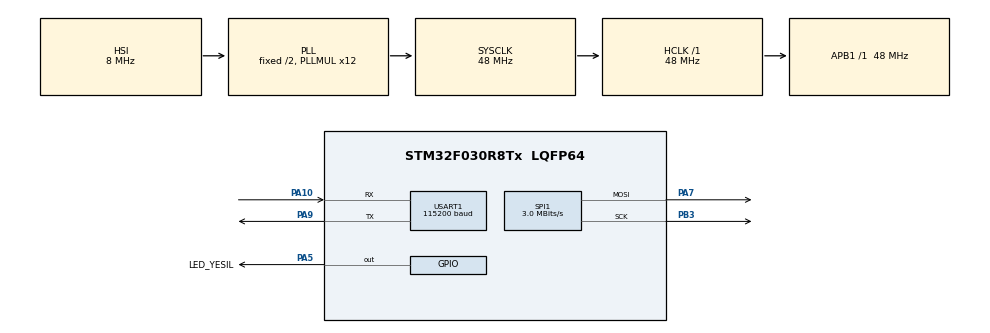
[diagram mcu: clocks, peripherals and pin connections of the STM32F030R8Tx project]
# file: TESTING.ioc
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Dma.Request0=SPI1_TX
Dma.Request1=USART1_RX
Dma.SPI1_TX.0.Direction=DMA_MEMORY_TO_PERIPH
Dma.SPI1_TX.0.Instance=DMA1_Channel3
Dma.SPI1_TX.0.MemDataAlignment=DMA_MDATAALIGN_BYTE
Dma.SPI1_TX.0.MemInc=DMA_MINC_ENABLE
Dma.SPI1_TX.0.Mode=DMA_NORMAL
Dma.SPI1_TX.0.PeriphDataAlignment=DMA_PDATAALIGN_BYTE
Dma.SPI1_TX.0.PeriphInc=DMA_PINC_DISABLE
Dma.SPI1_TX.0.Priority=DMA_PRIORITY_LOW
Dma.USART1_RX.1.Direction=DMA_PERIPH_TO_MEMORY
Dma.USART1_RX.1.Instance=DMA1_Channel5
Dma.USART1_RX.1.MemDataAlignment=DMA_MDATAALIGN_BYTE
Dma.USART1_RX.1.MemInc=DMA_MINC_ENABLE
Dma.USART1_RX.1.Mode=DMA_NORMAL
Dma.USART1_RX.1.PeriphDataAlignment=DMA_PDATAALIGN_BYTE
Dma.USART1_RX.1.PeriphInc=DMA_PINC_DISABLE
Dma.USART1_RX.1.Priority=DMA_PRIORITY_LOW
Mcu.Family=STM32F0
Mcu.Name=STM32F030R8Tx
Mcu.Package=LQFP64
NVIC.DMA1_Channel2_3_IRQn=true\:0\:0\:false\:false\:true\:false\:true\:true
NVIC.DMA1_Channel4_5_IRQn=true\:0\:0\:false\:false\:true\:false\:true\:true
NVIC.SPI1_IRQn=true\:0\:0\:false\:false\:true\:true\:true\:true
NVIC.USART1_IRQn=true\:1\:0\:true\:false\:true\:true\:true\:true
PA10.GPIO_PuPd=GPIO_PULLUP
PA10.Mode=Asynchronous
PA10.Signal=USART1_RX
PA13.Mode=Serial_Wire
PA13.Signal=SYS_SWDIO
PA14.Mode=Serial_Wire
PA14.Signal=SYS_SWCLK
PA5.GPIO_Label=LED_YESIL
PA5.Signal=GPIO_Output
PA7.GPIO_Mode=GPIO_MODE_AF_PP
PA7.GPIO_PuPd=GPIO_NOPULL
PA7.Mode=TX_Only_Simplex_Unidirect_Master
PA7.Signal=SPI1_MOSI
PA9.Mode=Asynchronous
PA9.Signal=USART1_TX
PB3.Mode=TX_Only_Simplex_Unidirect_Master
PB3.Signal=SPI1_SCK
PC14-OSC32_IN.Mode=LSE-External-Oscillator
PC14-OSC32_IN.Signal=RCC_OSC32_IN
PC15-OSC32_OUT.Mode=LSE-External-Oscillator
PC15-OSC32_OUT.Signal=RCC_OSC32_OUT
ProjectManager.HeapSize=0x200
ProjectManager.StackSize=0x400
ProjectManager.TargetToolchain=MDK-ARM V5.32
RCC.AHBFreq_Value=48000000
RCC.APB1Freq_Value=48000000
RCC.APB1TimFreq_Value=48000000
RCC.HCLKFreq_Value=48000000
RCC.PLLMUL=RCC_PLL_MUL12
RCC.SYSCLKFreq_VALUE=48000000
RCC.SYSCLKSource=RCC_SYSCLKSOURCE_PLLCLK
SPI1.BaudRatePrescaler=SPI_BAUDRATEPRESCALER_16
SPI1.CalculateBaudRate=3.0 MBits/s
SPI1.DataSize=SPI_DATASIZE_8BIT
SPI1.Direction=SPI_DIRECTION_2LINES
SPI1.Mode=SPI_MODE_MASTER
SPI1.NSSPMode=SPI_NSS_PULSE_DISABLE
SPI1.VirtualType=VM_MASTER
USART1.BaudRate=115200
USART1.Mode=MODE_RX
USART1.VirtualMode-Asynchronous=VM_ASYNC
board=custom

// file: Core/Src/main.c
/* USER CODE BEGIN Header */
/**
  ******************************************************************************
  * @file           : main.c
  * @brief          : Main program body
  ******************************************************************************
  * @attention
  *
  * Copyright (c) 2022 STMicroelectronics.
  * All rights reserved.
  *
  * This software is licensed under terms that can be found in the LICENSE file
  * in the root directory of this software component.
  * If no LICENSE file comes with this software, it is provided AS-IS.
  *
  ******************************************************************************
  */
/* USER CODE END Header */
#include "main.h"
#include "dma.h"
#include "spi.h"
#include "usart.h"
#include "gpio.h"

/* USER CODE BEGIN Includes */
#include "stm32f0xx_hal.h"
#include "math.h"
#include "string.h"
#include "stdio.h"
#include "stdlib.h"
#define LED_NO    105 // farkli modlari eklemek icin led_no fazla sayildi
/* USER CODE END Includes */

void SystemClock_Config(void);

/* USER CODE BEGIN 0 */
uint8_t r;
uint16_t i, n, m, k, j;

float gamma = 0.14; // tepe noktayi belirler (daha az veya fazla koyuluk)
float beta = 0.5; // gaussiani simetrik yapar
float br, bg, bb;

#define LED_BUFFER_LENGTH (LED_NO*12) //bunun sebebi her bir led icin 4*3 bytelik yer tutulacak olmasidir.

const uint8_t leddata[256*4] = { // size = 256 * 4 ------------ '0' = 0100 // '1' = 0111
0X44 , 0X44 , 0X44 , 0X44 , // 0 degeri
0X44 , 0X44 , 0X44 , 0X47 , // 1 degeri
0X44 , 0X44 , 0X44 , 0X74 , // .
0X44 , 0X44 , 0X44 , 0X77 , // ..
0X44 , 0X44 , 0X47 , 0X44 , // ...
0X44 , 0X44 , 0X47 , 0X47 , //0x44 = 0b01000100
0X44 , 0X44 , 0X47 , 0X74 , //0x47 = 0b01000111
0X44 , 0X44 , 0X47 , 0X77 , //0x74 = 0b01110100
0X44 , 0X44 , 0X74 , 0X44 , //0x77 = 0b01110111
0X44 , 0X44 , 0X74 , 0X47 ,
0X44 , 0X44 , 0X74 , 0X74 , // örnegin bu satirda 0100 0100 , 0100 0100 , 0111 0100 , 0111 0100 olacak sekilde bir çikti verecektir buradan 00001010 elde edilir ve 10 degerine ulasilir
0X44 , 0X44 , 0X74 , 0X77 ,
0X44 , 0X44 , 0X77 , 0X44 ,
0X44 , 0X44 , 0X77 , 0X47 ,
0X44 , 0X44 , 0X77 , 0X74 ,
0X44 , 0X44 , 0X77 , 0X77 ,
0X44 , 0X47 , 0X44 , 0X44 ,
0X44 , 0X47 , 0X44 , 0X47 ,
0X44 , 0X47 , 0X44 , 0X74 ,
0X44 , 0X47 , 0X44 , 0X77 ,
0X44 , 0X47 , 0X47 , 0X44 ,
0X44 , 0X47 , 0X47 , 0X47 ,
0X44 , 0X47 , 0X47 , 0X74 ,
0X44 , 0X47 , 0X47 , 0X77 ,
0X44 , 0X47 , 0X74 , 0X44 ,
0X44 , 0X47 , 0X74 , 0X47 ,
0X44 , 0X47 , 0X74 , 0X74 ,
0X44 , 0X47 , 0X74 , 0X77 ,
0X44 , 0X47 , 0X77 , 0X44 ,
0X44 , 0X47 , 0X77 , 0X47 ,
0X44 , 0X47 , 0X77 , 0X74 ,
0X44 , 0X47 , 0X77 , 0X77 ,
0X44 , 0X74 , 0X44 , 0X44 ,
0X44 , 0X74 , 0X44 , 0X47 ,
0X44 , 0X74 , 0X44 , 0X74 ,
0X44 , 0X74 , 0X44 , 0X77 ,
0X44 , 0X74 , 0X47 , 0X44 ,
0X44 , 0X74 , 0X47 , 0X47 ,
0X44 , 0X74 , 0X47 , 0X74 ,
0X44 , 0X74 , 0X47 , 0X77 ,
0X44 , 0X74 , 0X74 , 0X44 ,
0X44 , 0X74 , 0X74 , 0X47 ,
0X44 , 0X74 , 0X74 , 0X74 ,
0X44 , 0X74 , 0X74 , 0X77 ,
0X44 , 0X74 , 0X77 , 0X44 ,
0X44 , 0X74 , 0X77 , 0X47 ,
0X44 , 0X74 , 0X77 , 0X74 ,
0X44 , 0X74 , 0X77 , 0X77 ,
0X44 , 0X77 , 0X44 , 0X44 ,
0X44 , 0X77 , 0X44 , 0X47 ,
0X44 , 0X77 , 0X44 , 0X74 ,
0X44 , 0X77 , 0X44 , 0X77 ,
0X44 , 0X77 , 0X47 , 0X44 ,
0X44 , 0X77 , 0X47 , 0X47 ,
0X44 , 0X77 , 0X47 , 0X74 ,
0X44 , 0X77 , 0X47 , 0X77 ,
0X44 , 0X77 , 0X74 , 0X44 ,
0X44 , 0X77 , 0X74 , 0X47 ,
0X44 , 0X77 , 0X74 , 0X74 ,
0X44 , 0X77 , 0X74 , 0X77 ,
0X44 , 0X77 , 0X77 , 0X44 ,
0X44 , 0X77 , 0X77 , 0X47 ,
0X44 , 0X77 , 0X77 , 0X74 ,
0X44 , 0X77 , 0X77 , 0X77 ,
0X47 , 0X44 , 0X44 , 0X44 ,
0X47 , 0X44 , 0X44 , 0X47 ,
0X47 , 0X44 , 0X44 , 0X74 ,
0X47 , 0X44 , 0X44 , 0X77 ,
0X47 , 0X44 , 0X47 , 0X44 ,
0X47 , 0X44 , 0X47 , 0X47 ,
0X47 , 0X44 , 0X47 , 0X74 ,
0X47 , 0X44 , 0X47 , 0X77 ,
0X47 , 0X44 , 0X74 , 0X44 ,
0X47 , 0X44 , 0X74 , 0X47 ,
0X47 , 0X44 , 0X74 , 0X74 ,
0X47 , 0X44 , 0X74 , 0X77 ,
0X47 , 0X44 , 0X77 , 0X44 ,
0X47 , 0X44 , 0X77 , 0X47 ,
0X47 , 0X44 , 0X77 , 0X74 ,
0X47 , 0X44 , 0X77 , 0X77 ,
0X47 , 0X47 , 0X44 , 0X44 ,
0X47 , 0X47 , 0X44 , 0X47 ,
0X47 , 0X47 , 0X44 , 0X74 ,
0X47 , 0X47 , 0X44 , 0X77 ,
0X47 , 0X47 , 0X47 , 0X44 ,
0X47 , 0X47 , 0X47 , 0X47 ,
0X47 , 0X47 , 0X47 , 0X74 ,
0X47 , 0X47 , 0X47 , 0X77 ,
0X47 , 0X47 , 0X74 , 0X44 ,
0X47 , 0X47 , 0X74 , 0X47 ,
0X47 , 0X47 , 0X74 , 0X74 ,
0X47 , 0X47 , 0X74 , 0X77 ,
0X47 , 0X47 , 0X77 , 0X44 ,
0X47 , 0X47 , 0X77 , 0X47 ,
0X47 , 0X47 , 0X77 , 0X74 ,
0X47 , 0X47 , 0X77 , 0X77 ,
0X47 , 0X74 , 0X44 , 0X44 ,
0X47 , 0X74 , 0X44 , 0X47 ,
0X47 , 0X74 , 0X44 , 0X74 ,
0X47 , 0X74 , 0X44 , 0X77 ,
0X47 , 0X74 , 0X47 , 0X44 ,
0X47 , 0X74 , 0X47 , 0X47 ,
0X47 , 0X74 , 0X47 , 0X74 ,
0X47 , 0X74 , 0X47 , 0X77 ,
0X47 , 0X74 , 0X74 , 0X44 ,
0X47 , 0X74 , 0X74 , 0X47 ,
0X47 , 0X74 , 0X74 , 0X74 ,
0X47 , 0X74 , 0X74 , 0X77 ,
0X47 , 0X74 , 0X77 , 0X44 ,
0X47 , 0X74 , 0X77 , 0X47 ,
0X47 , 0X74 , 0X77 , 0X74 ,
0X47 , 0X74 , 0X77 , 0X77 ,
0X47 , 0X77 , 0X44 , 0X44 ,
0X47 , 0X77 , 0X44 , 0X47 ,
0X47 , 0X77 , 0X44 , 0X74 ,
0X47 , 0X77 , 0X44 , 0X77 ,
0X47 , 0X77 , 0X47 , 0X44 ,
0X47 , 0X77 , 0X47 , 0X47 ,
0X47 , 0X77 , 0X47 , 0X74 ,
0X47 , 0X77 , 0X47 , 0X77 ,
0X47 , 0X77 , 0X74 , 0X44 ,
0X47 , 0X77 , 0X74 , 0X47 ,
0X47 , 0X77 , 0X74 , 0X74 ,
0X47 , 0X77 , 0X74 , 0X77 ,
0X47 , 0X77 , 0X77 , 0X44 ,
0X47 , 0X77 , 0X77 , 0X47 ,
0X47 , 0X77 , 0X77 , 0X74 ,
0X47 , 0X77 , 0X77 , 0X77 ,
0X74 , 0X44 , 0X44 , 0X44 ,
0X74 , 0X44 , 0X44 , 0X47 ,
0X74 , 0X44 , 0X44 , 0X74 ,
0X74 , 0X44 , 0X44 , 0X77 ,
0X74 , 0X44 , 0X47 , 0X44 ,
0X74 , 0X44 , 0X47 , 0X47 ,
0X74 , 0X44 , 0X47 , 0X74 ,
0X74 , 0X44 , 0X47 , 0X77 ,
0X74 , 0X44 , 0X74 , 0X44 ,
0X74 , 0X44 , 0X74 , 0X47 ,
0X74 , 0X44 , 0X74 , 0X74 ,
0X74 , 0X44 , 0X74 , 0X77 ,
0X74 , 0X44 , 0X77 , 0X44 ,
0X74 , 0X44 , 0X77 , 0X47 ,
0X74 , 0X44 , 0X77 , 0X74 ,
0X74 , 0X44 , 0X77 , 0X77 ,
0X74 , 0X47 , 0X44 , 0X44 ,
0X74 , 0X47 , 0X44 , 0X47 ,
0X74 , 0X47 , 0X44 , 0X74 ,
0X74 , 0X47 , 0X44 , 0X77 ,
0X74 , 0X47 , 0X47 , 0X44 ,
0X74 , 0X47 , 0X47 , 0X47 ,
0X74 , 0X47 , 0X47 , 0X74 ,
0X74 , 0X47 , 0X47 , 0X77 ,
0X74 , 0X47 , 0X74 , 0X44 ,
0X74 , 0X47 , 0X74 , 0X47 ,
0X74 , 0X47 , 0X74 , 0X74 ,
0X74 , 0X47 , 0X74 , 0X77 ,
0X74 , 0X47 , 0X77 , 0X44 ,
0X74 , 0X47 , 0X77 , 0X47 ,
0X74 , 0X47 , 0X77 , 0X74 ,
0X74 , 0X47 , 0X77 , 0X77 ,
0X74 , 0X74 , 0X44 , 0X44 ,
0X74 , 0X74 , 0X44 , 0X47 ,
0X74 , 0X74 , 0X44 , 0X74 ,
0X74 , 0X74 , 0X44 , 0X77 ,
0X74 , 0X74 , 0X47 , 0X44 ,
0X74 , 0X74 , 0X47 , 0X47 ,
0X74 , 0X74 , 0X47 , 0X74 ,
0X74 , 0X74 , 0X47 , 0X77 ,
0X74 , 0X74 , 0X74 , 0X44 ,
0X74 , 0X74 , 0X74 , 0X47 ,
0X74 , 0X74 , 0X74 , 0X74 ,
0X74 , 0X74 , 0X74 , 0X77 ,
0X74 , 0X74 , 0X77 , 0X44 ,
0X74 , 0X74 , 0X77 , 0X47 ,
0X74 , 0X74 , 0X77 , 0X74 ,
0X74 , 0X74 , 0X77 , 0X77 ,
0X74 , 0X77 , 0X44 , 0X44 ,
0X74 , 0X77 , 0X44 , 0X47 ,
0X74 , 0X77 , 0X44 , 0X74 ,
0X74 , 0X77 , 0X44 , 0X77 ,
0X74 , 0X77 , 0X47 , 0X44 ,
0X74 , 0X77 , 0X47 , 0X47 ,
0X74 , 0X77 , 0X47 , 0X74 ,
0X74 , 0X77 , 0X47 , 0X77 ,
0X74 , 0X77 , 0X74 , 0X44 ,
0X74 , 0X77 , 0X74 , 0X47 ,
0X74 , 0X77 , 0X74 , 0X74 ,
0X74 , 0X77 , 0X74 , 0X77 ,
0X74 , 0X77 , 0X77 , 0X44 ,
0X74 , 0X77 , 0X77 , 0X47 ,
0X74 , 0X77 , 0X77 , 0X74 ,
0X74 , 0X77 , 0X77 , 0X77 ,
0X77 , 0X44 , 0X44 , 0X44 ,
0X77 , 0X44 , 0X44 , 0X47 ,
0X77 , 0X44 , 0X44 , 0X74 ,
0X77 , 0X44 , 0X44 , 0X77 ,
0X77 , 0X44 , 0X47 , 0X44 ,
0X77 , 0X44 , 0X47 , 0X47 ,
0X77 , 0X44 , 0X47 , 0X74 ,
0X77 , 0X44 , 0X47 , 0X77 ,
0X77 , 0X44 , 0X74 , 0X44 ,
0X77 , 0X44 , 0X74 , 0X47 ,
0X77 , 0X44 , 0X74 , 0X74 ,
0X77 , 0X44 , 0X74 , 0X77 ,
0X77 , 0X44 , 0X77 , 0X44 ,
0X77 , 0X44 , 0X77 , 0X47 ,
0X77 , 0X44 , 0X77 , 0X74 ,
0X77 , 0X44 , 0X77 , 0X77 ,
0X77 , 0X47 , 0X44 , 0X44 ,
0X77 , 0X47 , 0X44 , 0X47 ,
0X77 , 0X47 , 0X44 , 0X74 ,
0X77 , 0X47 , 0X44 , 0X77 ,
0X77 , 0X47 , 0X47 , 0X44 ,
0X77 , 0X47 , 0X47 , 0X47 ,
0X77 , 0X47 , 0X47 , 0X74 ,
0X77 , 0X47 , 0X47 , 0X77 ,
0X77 , 0X47 , 0X74 , 0X44 ,
0X77 , 0X47 , 0X74 , 0X47 ,
0X77 , 0X47 , 0X74 , 0X74 ,
0X77 , 0X47 , 0X74 , 0X77 ,
0X77 , 0X47 , 0X77 , 0X44 ,
0X77 , 0X47 , 0X77 , 0X47 ,
0X77 , 0X47 , 0X77 , 0X74 ,
0X77 , 0X47 , 0X77 , 0X77 ,
0X77 , 0X74 , 0X44 , 0X44 ,
0X77 , 0X74 , 0X44 , 0X47 ,
0X77 , 0X74 , 0X44 , 0X74 ,
0X77 , 0X74 , 0X44 , 0X77 ,
0X77 , 0X74 , 0X47 , 0X44 ,
0X77 , 0X74 , 0X47 , 0X47 ,
0X77 , 0X74 , 0X47 , 0X74 ,
0X77 , 0X74 , 0X47 , 0X77 ,
0X77 , 0X74 , 0X74 , 0X44 ,
0X77 , 0X74 , 0X74 , 0X47 ,
0X77 , 0X74 , 0X74 , 0X74 ,
0X77 , 0X74 , 0X74 , 0X77 ,
0X77 , 0X74 , 0X77 , 0X44 ,
0X77 , 0X74 , 0X77 , 0X47 ,
0X77 , 0X74 , 0X77 , 0X74 ,
0X77 , 0X74 , 0X77 , 0X77 ,
0X77 , 0X77 , 0X44 , 0X44 ,
0X77 , 0X77 , 0X44 , 0X47 ,
0X77 , 0X77 , 0X44 , 0X74 ,
0X77 , 0X77 , 0X44 , 0X77 ,
0X77 , 0X77 , 0X47 , 0X44 ,
0X77 , 0X77 , 0X47 , 0X47 ,
0X77 , 0X77 , 0X47 , 0X74 ,
0X77 , 0X77 , 0X47 , 0X77 ,
0X77 , 0X77 , 0X74 , 0X44 ,
0X77 , 0X77 , 0X74 , 0X47 ,
0X77 , 0X77 , 0X74 , 0X74 , // ...
0X77 , 0X77 , 0X74 , 0X77 , // ..
0X77 , 0X77 , 0X77 , 0X44 , // .
0X77 , 0X77 , 0X77 , 0X47 , //253
0X77 , 0X77 , 0X77 , 0X74 , //254
0X77 , 0X77 , 0X77 , 0X77 , //255

};

uint8_t ws_buffer[LED_BUFFER_LENGTH];

void encode_byte( uint8_t data, int16_t buffer_index )
{
   int index = (uint16_t) data * 4;
   ws_buffer[buffer_index++ ] = leddata[index++];
   ws_buffer[buffer_index++ ] = leddata[index++];
   ws_buffer[buffer_index++ ] = leddata[index++];
   ws_buffer[buffer_index++ ] = leddata[index++]; // datayi 4 ile çarpip istenen indexten yukari dogru artirilarak buffera kaydedilir
}

void generate_ws_buffer( uint8_t RData,uint8_t GData,uint8_t BData, int16_t led_no )
{
	//ws2812b
//G--R--B
//MSB first
   int offset = led_no * 12; // 12 ile çarpmamizin sebebi 3 bytelik verinin R,G,B için tutulacak olmasidir ve 4 bytelik veri ise leddata içinde tutulmaktadir buradan 3*4 = 12
   encode_byte( GData, offset );
   encode_byte( RData, offset+4 );
   encode_byte( BData, offset+8 ); // her bir renk icin 4 bytelik veri leddata mapinde tutuldugu icin led numarasindan sonra 4 byte artirarak diger renkler icin data kodlanir
}

void Send_2812(void)
 {
#if 1
    HAL_SPI_Transmit_DMA( &hspi1, ws_buffer, LED_BUFFER_LENGTH );
    // wait until finished
    while(__HAL_SPI_GET_FLAG(&hspi1, SPI_FLAG_BSY ));
#else
    HAL_SPI_Transmit( &hspi1, ws_buffer, LED_BUFFER_LENGTH, 300 );
#endif
 }

void resetPixelColors(void){

	 int i;
   for(i=0;i< LED_NO;i++) {
      generate_ws_buffer( 0, 0, 0, i );
   }
   Send_2812();

 }

void setAllPixelColor(uint8_t r, uint8_t g, uint8_t b)
{
   int i;
   for(i=0;i< LED_NO;i++) {
      generate_ws_buffer( r, g, b, i );

   }
   Send_2812();
}

 void setPixelColor(uint16_t n, uint8_t r, uint8_t g, uint8_t b)
 {
   generate_ws_buffer( r, g, b, n );
	 HAL_Delay(10);
   Send_2812();
}

void PreSetPixelColor(uint16_t n, uint8_t r, uint8_t g, uint8_t b)
 {
   generate_ws_buffer( r, g, b, n );
 //  Send_2812(); don't use here
}

/**
 * initialize MOSI pin to LOW.  Without this, first time transmit for first LED might be wrong.
 *
 */
void initLEDMOSI(void)
{
   uint8_t buffer0[2] = { 0, 0 };
   HAL_SPI_Transmit(&hspi1, buffer0, 1, 100 );
	 HAL_Delay(10);
}

uint16_t effStep = 0;

uint8_t rainbow_effect_right() {
    // Strip ID: 0 - Effect: Rainbow - LEDS: 60
    // Steps: 60 - Delay: 20
    // Colors: 3 (255.0.0, 0.255.0, 0.0.255)
    // Options: rainbowlen=60, toLeft=true,
  //if(millis() - strip_0.effStart < 20 * (strip_0.effStep)) return 0x00;
  float factor1, factor2;
  uint16_t ind;
  for(uint16_t j=0;j<60;j++) {
    ind = effStep + j * 2.5;
    switch((int)((ind % 150) / 50)) {
      case 0: factor1 = 1.0 - ((float)(ind % 150 - 0 * 50) / 50);
              factor2 = (float)((int)(ind - 0) % 150) / 50;
              PreSetPixelColor(j, 255 * factor1 + 0 * factor2, 0 * factor1 + 255 * factor2, 0 * factor1 + 0 * factor2);
              break;
      case 1: factor1 = 1.0 - ((float)(ind % 150 - 1 * 50) / 50);
              factor2 = (float)((int)(ind - 50) % 150) / 50;
              PreSetPixelColor(j, 0 * factor1 + 0 * factor2, 255 * factor1 + 0 * factor2, 0 * factor1 + 255 * factor2);
              break;
      case 2: factor1 = 1.0 - ((float)(ind % 150 - 2 * 50) / 50);
              factor2 = (float)((int)(ind - 100) % 150) / 50;
              PreSetPixelColor(j, 0 * factor1 + 255 * factor2, 0 * factor1 + 0 * factor2, 255 * factor1 + 0 * factor2);
              break;
    }
  }
	Send_2812();
  if(effStep >= 150) {effStep=0; return 0x03; }
  else effStep++;
  return 0x01;
}

uint8_t breathe_effect(){
	resetPixelColors();

	for(br = 0;br<255;br++){
		float br = 255.0*(exp(-(pow(((br/255)-beta)/gamma,2.0))/2.0));
		setAllPixelColor(br,k,j);
		HAL_Delay(100);

  }

	if(br >= 255){
			for(br = 255;br<1;br--){
			float br = 255.0*(exp(-(pow(((br/255)-beta)/gamma,2.0))/2.0));
			setAllPixelColor(br,k,j);
			HAL_Delay(100);
			}
		}

	return 0x01;
}

void breathe_effectv2(){

}

/* USER CODE END 0 */

int main(void)
{

  /* MCU Configuration--------------------------------------------------------*/

  /* Reset of all peripherals, Initializes the Flash interface and the Systick. */
  HAL_Init();

  /* Configure the system clock */
  SystemClock_Config();

  /* Initialize all configured peripherals */
  MX_GPIO_Init();
  MX_DMA_Init();
  MX_SPI1_Init();
  MX_USART1_UART_Init();
  /* USER CODE BEGIN 2 */
__HAL_UART_ENABLE_IT(&huart1, UART_IT_RXNE);
	initLEDMOSI();
	resetPixelColors();

  /* USER CODE END 2 */

  /* Infinite loop */
  while (1)
  {

    /* USER CODE BEGIN 3 */

				if(n==101){
					resetPixelColors();
				}

				setPixelColor(n,m,k,j);

				if(n==102){
					rainbow_effect_right();
				}

				if(n==103){
					setAllPixelColor(m, k, j);
				}

				if(n==104){
					breathe_effect();
				}

  }
  /* USER CODE END 3 */
}

void SystemClock_Config(void)
{
  RCC_OscInitTypeDef RCC_OscInitStruct = {0};
  RCC_ClkInitTypeDef RCC_ClkInitStruct = {0};
  RCC_PeriphCLKInitTypeDef PeriphClkInit = {0};

  /** Initializes the RCC Oscillators according to the specified parameters
  * in the RCC_OscInitTypeDef structure.
  */
  RCC_OscInitStruct.OscillatorType = RCC_OSCILLATORTYPE_HSI;
  RCC_OscInitStruct.HSIState = RCC_HSI_ON;
  RCC_OscInitStruct.HSICalibrationValue = RCC_HSICALIBRATION_DEFAULT;
  RCC_OscInitStruct.PLL.PLLState = RCC_PLL_ON;
  RCC_OscInitStruct.PLL.PLLSource = RCC_PLLSOURCE_HSI;
  RCC_OscInitStruct.PLL.PLLMUL = RCC_PLL_MUL12;
  RCC_OscInitStruct.PLL.PREDIV = RCC_PREDIV_DIV1;
  if (HAL_RCC_OscConfig(&RCC_OscInitStruct) != HAL_OK)
  {
    Error_Handler();
  }

  /** Initializes the CPU, AHB and APB buses clocks
  */
  RCC_ClkInitStruct.ClockType = RCC_CLOCKTYPE_HCLK|RCC_CLOCKTYPE_SYSCLK
                              |RCC_CLOCKTYPE_PCLK1;
  RCC_ClkInitStruct.SYSCLKSource = RCC_SYSCLKSOURCE_PLLCLK;
  RCC_ClkInitStruct.AHBCLKDivider = RCC_SYSCLK_DIV1;
  RCC_ClkInitStruct.APB1CLKDivider = RCC_HCLK_DIV1;

  if (HAL_RCC_ClockConfig(&RCC_ClkInitStruct, FLASH_LATENCY_1) != HAL_OK)
  {
    Error_Handler();
  }
  PeriphClkInit.PeriphClockSelection = RCC_PERIPHCLK_USART1;
  PeriphClkInit.Usart1ClockSelection = RCC_USART1CLKSOURCE_PCLK1;
  if (HAL_RCCEx_PeriphCLKConfig(&PeriphClkInit) != HAL_OK)
  {
    Error_Handler();
  }
}

/* USER CODE BEGIN 4 */
void HAL_UART_RxCpltCallback(UART_HandleTypeDef *huart){

	switch(r){

		case 'A': n = i - 1; i = 0; break;
		case 'B': m = i; i = 0; break;
		case 'C': k = i; i = 0; break;
		case 'D': j = i; i = 0; break;
		default: i = 10 * i + r - 0x30;
	}

	if(n>60 && n!=101 && n!=102 && n!=103 && n!=104){
		n = 59; //geçerli led sayisindan fazla girildiginde hatayla karsilasmamak icin

	}

}
/* USER CODE END 4 */

void Error_Handler(void)
{
  __disable_irq();
  while (1)
  {
  }
}
